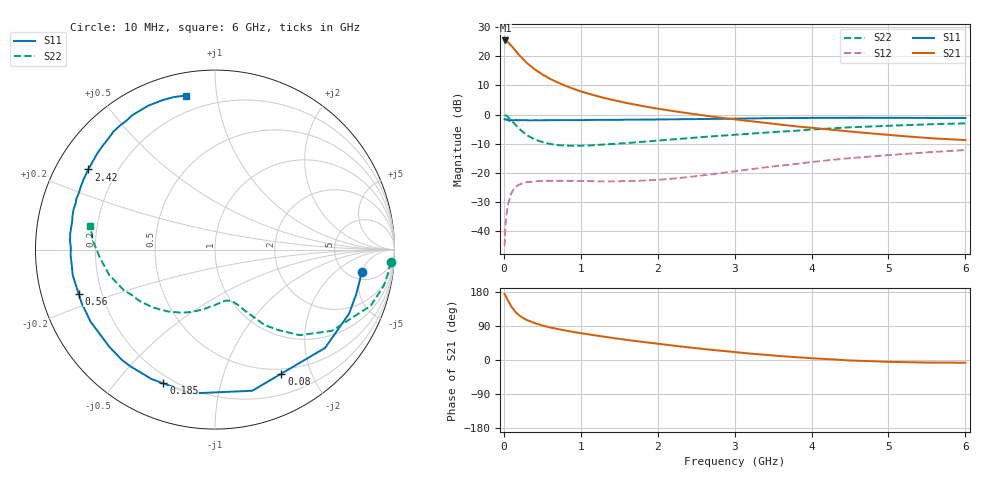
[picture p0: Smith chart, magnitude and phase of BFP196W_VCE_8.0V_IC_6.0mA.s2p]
! Infineon Technologies  Discrete & RF Semiconductors
! BFP196W
! VCE = 8.0 V,  IC = 6.0mA
! Common Emitter S-Parameters:  Jan 2016
# GHz  S  MA  R  50
!  f  S11  S21  S12  S22
! GHz  MAG  ANG  MAG  ANG  MAG  ANG  MAG  ANG
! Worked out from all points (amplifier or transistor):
!   210 points, 10 MHz to 6 GHz, reference 50 ohm
!   highest |S21| = 25.5 dB at 20 MHz (marker M1)
!   |S21| within 3 dB of that: start of sweep to 136.6 MHz
!   unconditionally stable (mu >= 1): 1.379 GHz to 3.321 GHz
!   at 185 MHz: K = 0.15, MSG = 22.6 dB, |S12| = -24.3 dB
!   at 1.52 GHz: K = 1.06, MAG = 12.2 dB, |S12| = -22.9 dB
!   at 6 GHz: K = 0.97, MSG = 1.7 dB, |S12| = -12.2 dB
!   S11 on the Smith chart (normalised r, x): 10 MHz: 6.59, -5.14; 80 MHz: 0.44, -1.58; 185 MHz: 0.16, -0.67; 560 MHz: 0.11, -0.16; 2.42 GHz: 0.10, +0.29; 6 GHz: 0.11, +0.82
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0.01  0.8285 -8.5  18.54 173.8  0.0055 82.7  0.981 -4.1
0.02  0.8253 -17.4  18.78 170.9  0.0117 80.5  0.9724 -8.2
0.03  0.8279 -25.6  18.54 166.6  0.0171 77.7  0.9614 -12.1
0.05  0.8223 -41.8  17.82 157.9  0.0269 69.5  0.9224 -19.8
0.08  0.7838 -61.8  16.06 147.9  0.0377 57.7  0.8378 -28.3
0.1  0.8134 -75.2  15.21 140.1  0.0455 53.1  0.7932 -34.8
0.15  0.8129 -99.6  12.7 126.8  0.0571 42.3  0.6708 -45.3
0.185  0.7989 -111.1  11.14 120.7  0.0611 36.8  0.5989 -49.7
0.2  0.803 -116.1  10.52 117.5  0.063 34.7  0.5693 -51.9
0.24  0.8033 -125.9  9.27 112.3  0.0662 30.5  0.5138 -55.8
0.3  0.8001 -137.2  7.693 105.3  0.0692 25.9  0.4428 -59.6
0.4  0.801 -149.9  6.001 97.1  0.0715 21.1  0.3754 -64.2
0.56  0.7989 -162.1  4.423 88.2  0.0728 17.8  0.3219 -68.9
0.8  0.8026 -173.9  3.122 77.7  0.0729 16.6  0.294 -75.1
1.02  0.8044 178.8  2.46 70.2  0.0721 17.3  0.2925 -81.0
1.4  0.8112 168.7  1.803 58.5  0.0712 21.5  0.3122 -91.3
2.02  0.8254 155.3  1.254 42.3  0.0762 33.7  0.3596 -107.6
2.42  0.8355 147.7  1.044 32.9  0.085 40.6  0.3972 -117.8
3.1  0.8543 135.6  0.8 18.9  0.1107 47.2  0.4622 -134.8
4.1  0.8792 120.3  0.577 3.6  0.1584 46.3  0.5633 -158.0
5.1  0.8817 108.7  0.437 -5.2  0.2061 39.4  0.6509 -178.0
6  0.8737 100.7  0.366 -7.2  0.2465 32.6  0.7075 169.3
